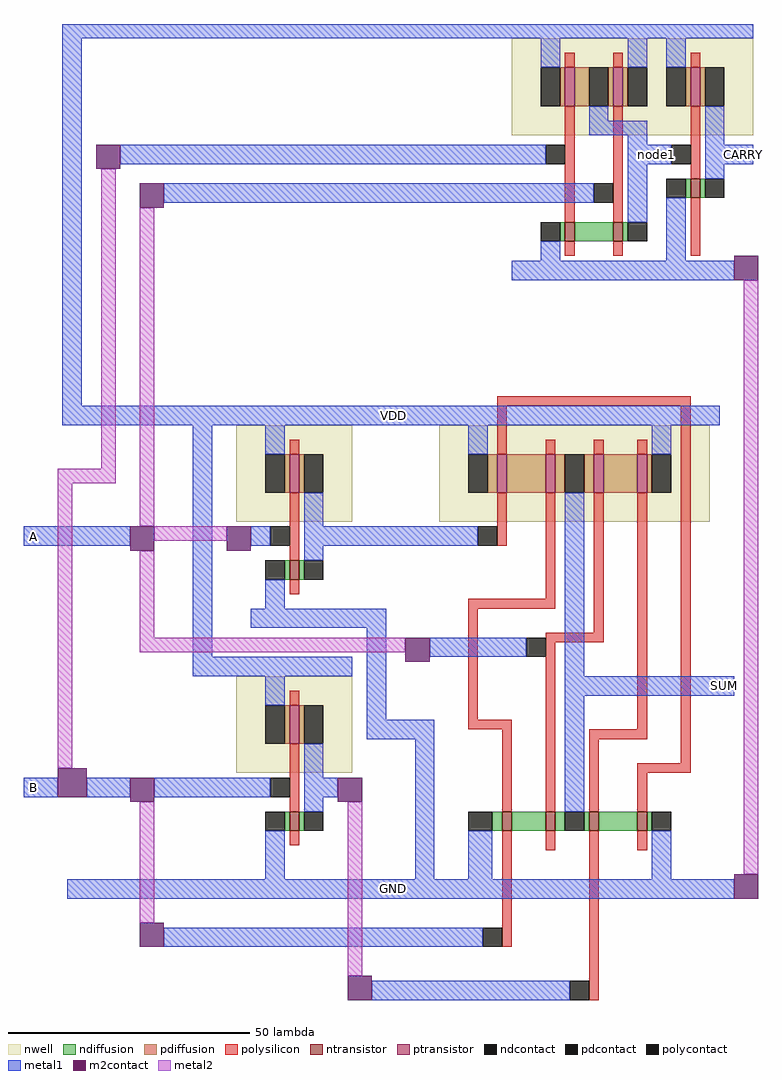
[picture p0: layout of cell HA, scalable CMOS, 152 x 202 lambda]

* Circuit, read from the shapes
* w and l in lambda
.subckt HA A B CARRY GND SUM VDD node1
M1 n1 B GND VSUBS nfet w=4 l=2
M2 n2 A GND VSUBS nfet w=4 l=2
M3 n3 B GND VSUBS nfet w=4 l=2
M4 SUM A n3 VSUBS nfet w=4 l=2
M5 n4 B GND VSUBS nfet w=4 l=2
M6 n5 n1 SUM VSUBS nfet w=4 l=2
M7 node1 A n4 VSUBS nfet w=4 l=2
M8 GND n2 n5 VSUBS nfet w=4 l=2
M9 CARRY node1 GND VSUBS nfet w=4 l=2
M10 n1 B VDD n6 pfet w=8 l=2
M11 n2 A VDD n7 pfet w=8 l=2
M12 n8 n2 VDD n9 pfet w=8 l=2
M13 SUM B n8 n9 pfet w=8 l=2
M14 node1 B VDD n10 pfet w=8 l=2
M15 n11 A SUM n9 pfet w=8 l=2
M16 VDD A node1 n10 pfet w=8 l=2
M17 VDD n1 n11 n9 pfet w=8 l=2
M18 CARRY node1 VDD n10 pfet w=8 l=2
.ends

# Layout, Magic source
magic
tech scmos
<< nwell >>
rect 6 -223 56 -203
rect -51 -303 -27 -283
rect -9 -303 47 -283
rect -51 -355 -27 -335
<< ntransistor >>
rect 43 -236 45 -232
rect 17 -245 19 -241
rect 27 -245 29 -241
rect -40 -315 -38 -311
rect -40 -367 -38 -363
rect 4 -367 6 -363
rect 13 -367 15 -363
rect 22 -367 24 -363
rect 32 -367 34 -363
<< ptransistor >>
rect 17 -217 19 -209
rect 27 -217 29 -209
rect 43 -217 45 -209
rect -40 -297 -38 -289
rect 3 -297 5 -289
rect 13 -297 15 -289
rect 23 -297 25 -289
rect 32 -297 34 -289
rect -40 -349 -38 -341
<< ndiffusion >>
rect 42 -236 43 -232
rect 45 -236 46 -232
rect 16 -245 17 -241
rect 19 -245 27 -241
rect 29 -245 30 -241
rect -41 -315 -40 -311
rect -38 -315 -37 -311
rect -41 -367 -40 -363
rect -38 -367 -37 -363
rect 2 -367 4 -363
rect 6 -367 13 -363
rect 15 -367 17 -363
rect 21 -367 22 -363
rect 24 -367 32 -363
rect 34 -367 35 -363
<< pdiffusion >>
rect 16 -217 17 -209
rect 19 -217 22 -209
rect 26 -217 27 -209
rect 29 -217 30 -209
rect 42 -217 43 -209
rect 45 -217 46 -209
rect -41 -297 -40 -289
rect -38 -297 -37 -289
rect 1 -297 3 -289
rect 5 -297 13 -289
rect 15 -297 17 -289
rect 21 -297 23 -289
rect 25 -297 32 -289
rect 34 -297 35 -289
rect -41 -349 -40 -341
rect -38 -349 -37 -341
<< ndcontact >>
rect 38 -236 42 -232
rect 46 -236 50 -232
rect 12 -245 16 -241
rect 30 -245 34 -241
rect -45 -315 -41 -311
rect -37 -315 -33 -311
rect -45 -367 -41 -363
rect -37 -367 -33 -363
rect -3 -367 2 -363
rect 17 -367 21 -363
rect 35 -367 39 -363
<< pdcontact >>
rect 12 -217 16 -209
rect 22 -217 26 -209
rect 30 -217 34 -209
rect 38 -217 42 -209
rect 46 -217 50 -209
rect -45 -297 -41 -289
rect -37 -297 -33 -289
rect -3 -297 1 -289
rect 17 -297 21 -289
rect 35 -297 39 -289
rect -45 -349 -41 -341
rect -37 -349 -33 -341
<< polysilicon >>
rect 17 -209 19 -206
rect 27 -209 29 -206
rect 43 -209 45 -206
rect 17 -241 19 -217
rect 27 -241 29 -217
rect 43 -232 45 -217
rect 17 -248 19 -245
rect 27 -248 29 -245
rect 43 -248 45 -236
rect 3 -279 43 -277
rect -40 -289 -38 -286
rect 3 -289 5 -279
rect 13 -289 15 -286
rect 23 -289 25 -286
rect 32 -289 34 -286
rect -40 -311 -38 -297
rect 3 -308 5 -297
rect -40 -318 -38 -315
rect 13 -319 15 -297
rect -3 -321 15 -319
rect -40 -341 -38 -338
rect -3 -344 -1 -321
rect 23 -326 25 -297
rect 13 -328 25 -326
rect -3 -346 6 -344
rect -40 -363 -38 -349
rect 4 -363 6 -346
rect 13 -363 15 -328
rect 32 -346 34 -297
rect 22 -348 34 -346
rect 22 -363 24 -348
rect 41 -353 43 -279
rect 32 -355 43 -353
rect 32 -363 34 -355
rect -40 -370 -38 -367
rect 4 -391 6 -367
rect 13 -371 15 -367
rect 22 -402 24 -367
rect 32 -371 34 -367
<< polycontact >>
rect 13 -229 17 -225
rect 23 -237 27 -233
rect 39 -229 43 -225
rect -44 -308 -40 -304
rect -1 -308 3 -304
rect 9 -331 13 -327
rect -44 -360 -40 -356
rect 0 -391 4 -387
rect 18 -402 22 -398
<< metal1 >>
rect -87 -203 56 -200
rect -87 -279 -83 -203
rect 12 -209 16 -203
rect 30 -209 34 -203
rect 38 -209 42 -203
rect 22 -220 26 -217
rect 22 -223 34 -220
rect 30 -225 34 -223
rect 46 -225 50 -217
rect -75 -229 13 -225
rect 30 -229 39 -225
rect 46 -229 56 -225
rect -66 -237 23 -233
rect 30 -241 34 -229
rect 46 -232 50 -229
rect 12 -249 16 -245
rect 38 -249 42 -236
rect 6 -253 52 -249
rect -87 -283 49 -279
rect -95 -308 -73 -304
rect -60 -331 -56 -283
rect -45 -289 -41 -283
rect -3 -289 1 -283
rect 35 -289 39 -283
rect -37 -304 -33 -297
rect -48 -308 -44 -304
rect -37 -308 -1 -304
rect -37 -311 -33 -308
rect -45 -321 -41 -315
rect -48 -325 -20 -321
rect -60 -335 -27 -331
rect -45 -341 -41 -335
rect -24 -344 -20 -325
rect -11 -331 9 -327
rect 17 -335 21 -297
rect 17 -339 52 -335
rect -24 -348 -10 -344
rect -95 -360 -88 -356
rect -37 -356 -33 -349
rect -82 -360 -73 -356
rect -68 -360 -44 -356
rect -37 -360 -30 -356
rect -37 -363 -33 -360
rect -45 -377 -41 -367
rect -14 -377 -10 -348
rect 17 -363 21 -339
rect -3 -377 2 -367
rect 35 -377 39 -367
rect -86 -381 52 -377
rect -66 -391 0 -387
rect -23 -402 18 -398
<< m2contact >>
rect -80 -230 -75 -225
rect -71 -238 -66 -233
rect 52 -253 57 -248
rect -73 -309 -68 -304
rect -53 -309 -48 -304
rect -16 -332 -11 -327
rect -88 -360 -82 -354
rect -73 -361 -68 -356
rect -30 -361 -25 -356
rect 52 -381 57 -376
rect -71 -391 -66 -386
rect -28 -402 -23 -397
<< metal2 >>
rect -79 -292 -76 -230
rect -88 -295 -76 -292
rect -88 -354 -85 -295
rect -71 -304 -68 -238
rect -68 -307 -53 -304
rect -71 -327 -68 -309
rect -71 -330 -16 -327
rect -71 -386 -68 -361
rect -28 -397 -25 -361
rect 54 -376 57 -253
<< labels >>
rlabel metal1 48 -339 52 -335 7 SUM
rlabel metal1 -86 -381 49 -377 1 GND
rlabel metal1 -86 -283 49 -279 1 VDD
rlabel metal1 36 -227 36 -227 1 node1
rlabel metal1 -95 -308 -91 -304 3 A
rlabel metal1 -95 -360 -91 -356 3 B
rlabel metal1 52 -229 56 -225 7 CARRY
<< end >>
